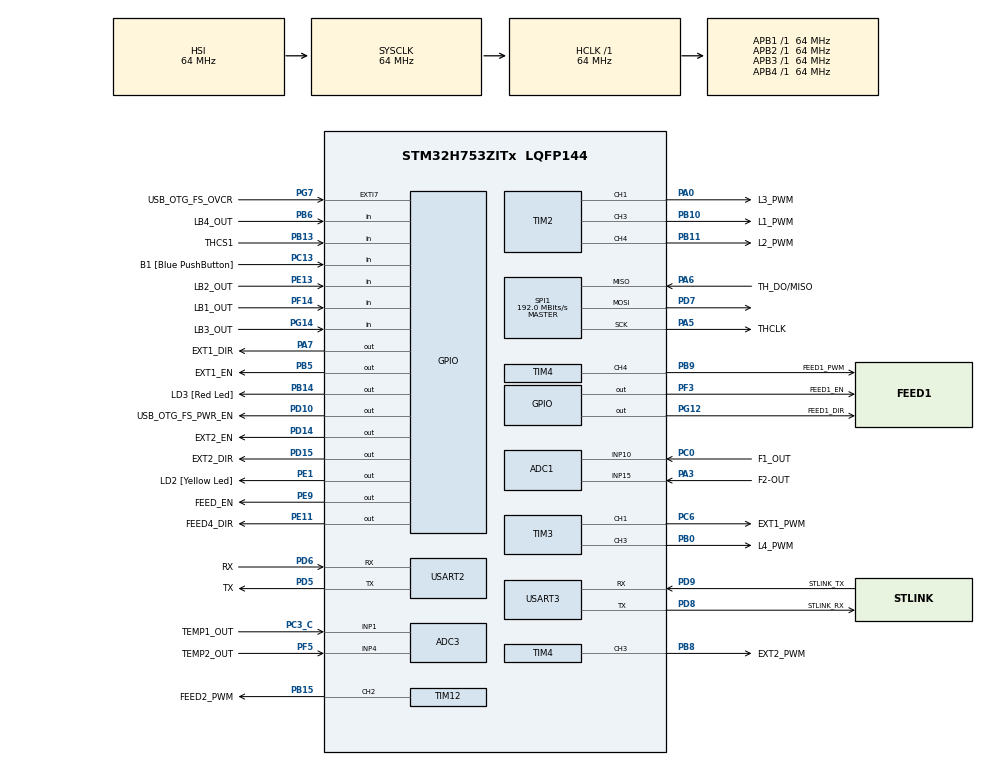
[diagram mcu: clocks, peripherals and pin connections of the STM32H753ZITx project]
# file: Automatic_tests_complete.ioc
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ADC1.Channel-0\#ChannelRegularConversion=ADC_CHANNEL_15
ADC1.NbrOfConversionFlag=1
ADC1.OffsetNumber-0\#ChannelRegularConversion=ADC_OFFSET_NONE
ADC1.OffsetSignedSaturation-0\#ChannelRegularConversion=DISABLE
ADC1.Rank-0\#ChannelRegularConversion=1
ADC1.SamplingTime-0\#ChannelRegularConversion=ADC_SAMPLETIME_1CYCLE_5
ADC1.master=1
ADC3.Channel-0\#ChannelRegularConversion=ADC_CHANNEL_1
ADC3.NbrOfConversionFlag=1
ADC3.OffsetNumber-0\#ChannelRegularConversion=ADC_OFFSET_NONE
ADC3.OffsetSignedSaturation-0\#ChannelRegularConversion=DISABLE
ADC3.Rank-0\#ChannelRegularConversion=1
ADC3.SamplingTime-0\#ChannelRegularConversion=ADC_SAMPLETIME_1CYCLE_5
CORTEX_M7.CPU_DCache=Disabled
CORTEX_M7.CPU_ICache=Disabled
CORTEX_M7.MPU_Control=__NULL
Mcu.Family=STM32H7
Mcu.Name=STM32H753ZITx
Mcu.Package=LQFP144
NVIC.PriorityGroup=NVIC_PRIORITYGROUP_4
NVIC.TIM3_IRQn=true\:0\:0\:false\:false\:true\:true\:true\:true
NVIC.TIM4_IRQn=true\:0\:0\:false\:false\:true\:true\:true\:true
PA0.GPIO_Label=L3_PWM
PA0.Signal=S_TIM2_CH1_ETR
PA1.Signal=ETH_REF_CLK
PA11.Signal=USB_OTG_FS_DM
PA12.Signal=USB_OTG_FS_DP
PA2.Signal=ETH_MDIO
PA3.GPIO_Label=F2-OUT
PA3.Signal=ADCx_INP15
PA5.GPIO_Label=THCLK
PA5.Mode=Full_Duplex_Master
PA5.Signal=SPI1_SCK
PA6.GPIO_Label=TH_DO/MISO
PA6.Mode=Full_Duplex_Master
PA6.Signal=SPI1_MISO
PA7.GPIO_Label=EXT1_DIR
PA7.Signal=GPIO_Output
PA8.Signal=USB_OTG_FS_SOF
PA9.Signal=USB_OTG_FS_VBUS
PB0.GPIO_Label=L4_PWM
PB0.Signal=S_TIM3_CH3
PB10.GPIO_Label=L1_PWM
PB10.Signal=S_TIM2_CH3
PB11.GPIO_Label=L2_PWM
PB11.Signal=S_TIM2_CH4
PB13.GPIO_Label=THCS1
PB13.Signal=GPIO_Input
PB14.GPIO_Label=LD3 [Red Led]
PB14.Signal=GPIO_Output
PB15.GPIO_Label=FEED2_PWM
PB15.Signal=S_TIM12_CH2
PB5.GPIO_Label=EXT1_EN
PB5.GPIO_PuPd=GPIO_PULLDOWN
PB5.Signal=GPIO_Output
PB6.GPIO_Label=LB4_OUT
PB6.Signal=GPIO_Input
PB8.GPIO_Label=EXT2_PWM
PB8.Signal=S_TIM4_CH3
PB9.GPIO_Label=FEED1_PWM
PB9.Signal=S_TIM4_CH4
PC0.GPIO_Label=F1_OUT
PC0.Signal=ADCx_INP10
PC1.Signal=ETH_MDC
PC13.GPIO_Label=B1 [Blue PushButton]
PC13.Signal=GPIO_Input
PC14-OSC32_IN\ (OSC32_IN).Signal=RCC_OSC32_IN
PC15-OSC32_OUT\ (OSC32_OUT).Signal=RCC_OSC32_OUT
PC3_C.GPIO_Label=TEMP1_OUT
PC3_C.Mode=IN1-Single-Ended
PC3_C.Signal=ADC3_INP1
PC4.Signal=ETH_RXD0
PC5.Signal=ETH_RXD1
PC6.GPIO_Label=EXT1_PWM
PC6.Signal=S_TIM3_CH1
PD10.GPIO_Label=USB_OTG_FS_PWR_EN
PD10.Signal=GPIO_Output
PD14.GPIO_Label=EXT2_EN
PD14.GPIO_PuPd=GPIO_PULLDOWN
PD14.Signal=GPIO_Output
PD15.GPIO_Label=EXT2_DIR
PD15.Signal=GPIO_Output
PD5.GPIO_Label=TX
PD5.Mode=Asynchronous
PD5.Signal=USART2_TX
PD6.GPIO_Label=RX
PD6.Mode=Asynchronous
PD6.Signal=USART2_RX
PD7.Mode=Full_Duplex_Master
PD7.Signal=SPI1_MOSI
PD8.GPIO_Label=STLINK_RX
PD8.Mode=Asynchronous
PD8.Signal=USART3_TX
PD9.GPIO_Label=STLINK_TX
PD9.Mode=Asynchronous
PD9.Signal=USART3_RX
PE1.GPIO_Label=LD2 [Yellow Led]
PE1.Signal=GPIO_Output
PE11.GPIO_Label=FEED4_DIR
PE11.Signal=GPIO_Output
PE13.GPIO_Label=LB2_OUT
PE13.Signal=GPIO_Input
PE9.GPIO_Label=FEED_EN
PE9.GPIO_PuPd=GPIO_PULLDOWN
PE9.Signal=GPIO_Output
PF14.GPIO_Label=LB1_OUT
PF14.Signal=GPIO_Input
PF3.GPIO_Label=FEED1_EN
PF3.GPIO_PuPd=GPIO_PULLDOWN
PF3.Signal=GPIO_Output
PF5.GPIO_Label=TEMP2_OUT
PF5.Mode=IN4-Single-Ended
PF5.Signal=ADC3_INP4
PG11.Signal=ETH_TX_EN
PG12.GPIO_Label=FEED1_DIR
PG12.Signal=GPIO_Output
PG13.Signal=ETH_TXD0
PG14.GPIO_Label=LB3_OUT
PG14.Signal=GPIO_Input
PG7.GPIO_Label=USB_OTG_FS_OVCR
PG7.Signal=GPXTI7
PH0-OSC_IN\ (PH0).Signal=RCC_OSC_IN
PH1-OSC_OUT\ (PH1).Signal=RCC_OSC_OUT
ProjectManager.HeapSize=0x200
ProjectManager.StackSize=0x400
ProjectManager.TargetToolchain=STM32CubeIDE
RCC.ADCFreq_Value=129000000
RCC.APB1Freq_Value=64000000
RCC.APB2Freq_Value=64000000
RCC.APB3Freq_Value=64000000
RCC.APB4Freq_Value=64000000
RCC.CortexFreq_Value=64000000
RCC.DIVM1=1
RCC.DIVN1=24
RCC.DIVQ1=4
RCC.HCLKFreq_Value=64000000
RCC.HSE_VALUE=8000000
RCC.PLLFRACN=0
RCC.PWR_Regulator_Voltage_Scale=PWR_REGULATOR_VOLTAGE_SCALE2
RCC.SYSCLKFreq_VALUE=64000000
RCC.USBFreq_Value=384000000
SH.ADCx_INP10.0=ADC1_INP10,IN10-Single-Ended
SH.ADCx_INP15.0=ADC1_INP15,IN15-Single-Ended
SH.S_TIM12_CH2.0=TIM12_CH2,PWM Generation2 CH2
SH.S_TIM2_CH1_ETR.0=TIM2_CH1,PWM Generation1 CH1
SH.S_TIM2_CH3.0=TIM2_CH3,PWM Generation3 CH3
SH.S_TIM2_CH4.0=TIM2_CH4,Output Compare4 CH4
SH.S_TIM3_CH1.0=TIM3_CH1,PWM Generation1 CH1
SH.S_TIM3_CH3.0=TIM3_CH3,PWM Generation3 CH3
SH.S_TIM4_CH3.0=TIM4_CH3,PWM Generation3 CH3
SH.S_TIM4_CH4.0=TIM4_CH4,PWM Generation4 CH4
SPI1.BaudRatePrescaler=SPI_BAUDRATEPRESCALER_2
SPI1.CalculateBaudRate=192.0 MBits/s
SPI1.Direction=SPI_DIRECTION_2LINES
SPI1.Mode=SPI_MODE_MASTER
SPI1.VirtualType=VM_MASTER
TIM12.AutoReloadPreload=TIM_AUTORELOAD_PRELOAD_ENABLE
TIM12.Channel-PWM\ Generation2\ CH2=TIM_CHANNEL_2
TIM2.AutoReloadPreload=TIM_AUTORELOAD_PRELOAD_ENABLE
TIM2.Channel-Output\ Compare4\ CH4=TIM_CHANNEL_4
TIM2.Channel-PWM\ Generation1\ CH1=TIM_CHANNEL_1
TIM2.Channel-PWM\ Generation3\ CH3=TIM_CHANNEL_3
TIM3.AutoReloadPreload=TIM_AUTORELOAD_PRELOAD_ENABLE
TIM3.Channel-PWM\ Generation1\ CH1=TIM_CHANNEL_1
TIM3.Channel-PWM\ Generation3\ CH3=TIM_CHANNEL_3
TIM4.AutoReloadPreload=TIM_AUTORELOAD_PRELOAD_ENABLE
TIM4.Channel-PWM\ Generation3\ CH3=TIM_CHANNEL_3
TIM4.Channel-PWM\ Generation4\ CH4=TIM_CHANNEL_4
USART2.VirtualMode-Asynchronous=VM_ASYNC
USART3.VirtualMode-Asynchronous=VM_ASYNC
VP_MEMORYMAP_VS_MEMORYMAP.Mode=CurAppReg
board=NUCLEO-H753ZI

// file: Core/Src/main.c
/* USER CODE BEGIN Header */
/**
  ******************************************************************************
  * @file           : main.c
  * @brief          : Main program body
  ******************************************************************************
  * @attention
  *
  * Copyright (c) 2024 STMicroelectronics.
  * All rights reserved.
  *
  * This software is licensed under terms that can be found in the LICENSE file
  * in the root directory of this software component.
  * If no LICENSE file comes with this software, it is provided AS-IS.
  *
  ******************************************************************************
  */
/* USER CODE END Header */
#include "main.h"

/* USER CODE BEGIN Includes */
#include <string.h>
#include <stdio.h>
#include <stdlib.h>
#include <stdbool.h>
/* USER CODE END Includes */

/* USER CODE BEGIN PD */
#define RX_BUFFER_SIZE 128
#define PWM_DUTY_CYCLE 128 // 50% duty cycle
/* USER CODE END PD */

ADC_HandleTypeDef hadc1;
ADC_HandleTypeDef hadc3;

SPI_HandleTypeDef hspi1;

TIM_HandleTypeDef htim2;
TIM_HandleTypeDef htim3;
TIM_HandleTypeDef htim4;
TIM_HandleTypeDef htim12;

UART_HandleTypeDef huart2;
UART_HandleTypeDef huart3;

/* USER CODE BEGIN PV */
volatile uint8_t dataReceived = 0;
uint8_t rxBuffer[RX_BUFFER_SIZE];
volatile bool lightBarrierTriggered = false;
/* USER CODE END PV */

void SystemClock_Config(void);
void PeriphCommonClock_Config(void);
static void MX_GPIO_Init(void);
static void MX_ADC1_Init(void);
static void MX_ADC3_Init(void);
static void MX_SPI1_Init(void);
static void MX_TIM2_Init(void);
static void MX_TIM3_Init(void);
static void MX_TIM4_Init(void);
static void MX_TIM12_Init(void);
static void MX_USART2_UART_Init(void);
static void MX_USART3_UART_Init(void);
/* USER CODE BEGIN PFP */
void processCommand(char *command);
void startExtruderMotors(void);
void startFeederAndLEDs(void);
void stopAllOperations(void);
/* USER CODE END PFP */

int main(void)
{

  /* MCU Configuration--------------------------------------------------------*/

  /* Reset of all peripherals, Initializes the Flash interface and the Systick. */
  HAL_Init();

  /* Configure the system clock */
  SystemClock_Config();

  /* Configure the peripherals common clocks */
  PeriphCommonClock_Config();

  /* Initialize all configured peripherals */
  MX_GPIO_Init();
  MX_ADC1_Init();
  MX_ADC3_Init();
  MX_SPI1_Init();
  MX_TIM2_Init();
  MX_TIM3_Init();
  MX_TIM4_Init();
  MX_TIM12_Init();
  MX_USART2_UART_Init();
  MX_USART3_UART_Init();
  /* USER CODE BEGIN 2 */

  // Start UART reception in interrupt mode
  HAL_UART_Receive_IT(&huart3, (uint8_t *)rxBuffer, RX_BUFFER_SIZE);

  /* USER CODE END 2 */

  /* Infinite loop */
  /* USER CODE BEGIN WHILE */
  while (1)
  {
    if (dataReceived) {
      processCommand((char *)rxBuffer);
      dataReceived = 0;
    }

    if (lightBarrierTriggered) {
      startFeederAndLEDs();
      lightBarrierTriggered = false; // Reset trigger
    }
    /* USER CODE END WHILE */

  }
}

void SystemClock_Config(void)
{
  RCC_OscInitTypeDef RCC_OscInitStruct = {0};
  RCC_ClkInitTypeDef RCC_ClkInitStruct = {0};

  /** Supply configuration update enable
  */
  HAL_PWREx_ConfigSupply(PWR_LDO_SUPPLY);

  /** Configure the main internal regulator output voltage
  */
  __HAL_PWR_VOLTAGESCALING_CONFIG(PWR_REGULATOR_VOLTAGE_SCALE2);

  while(!__HAL_PWR_GET_FLAG(PWR_FLAG_VOSRDY)) {}

  /** Macro to configure the PLL clock source
  */
  __HAL_RCC_PLL_PLLSOURCE_CONFIG(RCC_PLLSOURCE_HSI);

  /** Initializes the RCC Oscillators according to the specified parameters
  * in the RCC_OscInitTypeDef structure.
  */
  RCC_OscInitStruct.OscillatorType = RCC_OSCILLATORTYPE_HSI;
  RCC_OscInitStruct.HSIState = RCC_HSI_DIV1;
  RCC_OscInitStruct.HSICalibrationValue = RCC_HSICALIBRATION_DEFAULT;
  RCC_OscInitStruct.PLL.PLLState = RCC_PLL_NONE;
  if (HAL_RCC_OscConfig(&RCC_OscInitStruct) != HAL_OK)
  {
    Error_Handler();
  }

  /** Initializes the CPU, AHB and APB buses clocks
  */
  RCC_ClkInitStruct.ClockType = RCC_CLOCKTYPE_HCLK|RCC_CLOCKTYPE_SYSCLK
                              |RCC_CLOCKTYPE_PCLK1|RCC_CLOCKTYPE_PCLK2
                              |RCC_CLOCKTYPE_D3PCLK1|RCC_CLOCKTYPE_D1PCLK1;
  RCC_ClkInitStruct.SYSCLKSource = RCC_SYSCLKSOURCE_HSI;
  RCC_ClkInitStruct.SYSCLKDivider = RCC_SYSCLK_DIV1;
  RCC_ClkInitStruct.AHBCLKDivider = RCC_HCLK_DIV1;
  RCC_ClkInitStruct.APB3CLKDivider = RCC_APB3_DIV1;
  RCC_ClkInitStruct.APB1CLKDivider = RCC_APB1_DIV1;
  RCC_ClkInitStruct.APB2CLKDivider = RCC_APB2_DIV1;
  RCC_ClkInitStruct.APB4CLKDivider = RCC_APB4_DIV1;

  if (HAL_RCC_ClockConfig(&RCC_ClkInitStruct, FLASH_LATENCY_1) != HAL_OK)
  {
    Error_Handler();
  }
}

void PeriphCommonClock_Config(void)
{
  RCC_PeriphCLKInitTypeDef PeriphClkInitStruct = {0};

  /** Initializes the peripherals clock
  */
  PeriphClkInitStruct.PeriphClockSelection = RCC_PERIPHCLK_ADC|RCC_PERIPHCLK_SPI1;
  PeriphClkInitStruct.PLL2.PLL2M = 4;
  PeriphClkInitStruct.PLL2.PLL2N = 10;
  PeriphClkInitStruct.PLL2.PLL2P = 2;
  PeriphClkInitStruct.PLL2.PLL2Q = 2;
  PeriphClkInitStruct.PLL2.PLL2R = 2;
  PeriphClkInitStruct.PLL2.PLL2RGE = RCC_PLL2VCIRANGE_3;
  PeriphClkInitStruct.PLL2.PLL2VCOSEL = RCC_PLL2VCOMEDIUM;
  PeriphClkInitStruct.PLL2.PLL2FRACN = 0;
  PeriphClkInitStruct.Spi123ClockSelection = RCC_SPI123CLKSOURCE_PLL2;
  PeriphClkInitStruct.AdcClockSelection = RCC_ADCCLKSOURCE_PLL2;
  if (HAL_RCCEx_PeriphCLKConfig(&PeriphClkInitStruct) != HAL_OK)
  {
    Error_Handler();
  }
}

static void MX_ADC1_Init(void)
{

  ADC_MultiModeTypeDef multimode = {0};
  ADC_ChannelConfTypeDef sConfig = {0};

  /** Common config
  */
  hadc1.Instance = ADC1;
  hadc1.Init.ScanConvMode = ADC_SCAN_DISABLE;
  hadc1.Init.EOCSelection = ADC_EOC_SINGLE_CONV;
  hadc1.Init.LowPowerAutoWait = DISABLE;
  hadc1.Init.ContinuousConvMode = DISABLE;
  hadc1.Init.NbrOfConversion = 1;
  hadc1.Init.DiscontinuousConvMode = DISABLE;
  hadc1.Init.ExternalTrigConv = ADC_SOFTWARE_START;
  hadc1.Init.ExternalTrigConvEdge = ADC_EXTERNALTRIGCONVEDGE_NONE;
  hadc1.Init.ConversionDataManagement = ADC_CONVERSIONDATA_DR;
  hadc1.Init.Overrun = ADC_OVR_DATA_PRESERVED;
  hadc1.Init.LeftBitShift = ADC_LEFTBITSHIFT_NONE;
  hadc1.Init.OversamplingMode = DISABLE;
  hadc1.Init.Oversampling.Ratio = 1;
  if (HAL_ADC_Init(&hadc1) != HAL_OK)
  {
    Error_Handler();
  }
  hadc1.Init.ClockPrescaler = ADC_CLOCK_ASYNC_DIV2;
  hadc1.Init.Resolution = ADC_RESOLUTION_16B;
  if (HAL_ADC_Init(&hadc1) != HAL_OK)
  {
    Error_Handler();
  }

  /** Configure the ADC multi-mode
  */
  multimode.Mode = ADC_MODE_INDEPENDENT;
  if (HAL_ADCEx_MultiModeConfigChannel(&hadc1, &multimode) != HAL_OK)
  {
    Error_Handler();
  }

  /** Configure Regular Channel
  */
  sConfig.Channel = ADC_CHANNEL_15;
  sConfig.Rank = ADC_REGULAR_RANK_1;
  sConfig.SamplingTime = ADC_SAMPLETIME_1CYCLE_5;
  sConfig.SingleDiff = ADC_SINGLE_ENDED;
  sConfig.OffsetNumber = ADC_OFFSET_NONE;
  sConfig.Offset = 0;
  sConfig.OffsetSignedSaturation = DISABLE;
  if (HAL_ADC_ConfigChannel(&hadc1, &sConfig) != HAL_OK)
  {
    Error_Handler();
  }

}

static void MX_ADC3_Init(void)
{

  ADC_ChannelConfTypeDef sConfig = {0};

  /** Common config
  */
  hadc3.Instance = ADC3;
  hadc3.Init.ClockPrescaler = ADC_CLOCK_ASYNC_DIV1;
  hadc3.Init.ScanConvMode = ADC_SCAN_DISABLE;
  hadc3.Init.EOCSelection = ADC_EOC_SINGLE_CONV;
  hadc3.Init.LowPowerAutoWait = DISABLE;
  hadc3.Init.ContinuousConvMode = DISABLE;
  hadc3.Init.NbrOfConversion = 1;
  hadc3.Init.DiscontinuousConvMode = DISABLE;
  hadc3.Init.ExternalTrigConv = ADC_SOFTWARE_START;
  hadc3.Init.ExternalTrigConvEdge = ADC_EXTERNALTRIGCONVEDGE_NONE;
  hadc3.Init.ConversionDataManagement = ADC_CONVERSIONDATA_DR;
  hadc3.Init.Overrun = ADC_OVR_DATA_PRESERVED;
  hadc3.Init.LeftBitShift = ADC_LEFTBITSHIFT_NONE;
  hadc3.Init.OversamplingMode = DISABLE;
  hadc3.Init.Oversampling.Ratio = 1;
  if (HAL_ADC_Init(&hadc3) != HAL_OK)
  {
    Error_Handler();
  }
  hadc3.Init.Resolution = ADC_RESOLUTION_16B;
  if (HAL_ADC_Init(&hadc3) != HAL_OK)
  {
    Error_Handler();
  }

  /** Configure Regular Channel
  */
  sConfig.Channel = ADC_CHANNEL_1;
  sConfig.Rank = ADC_REGULAR_RANK_1;
  sConfig.SamplingTime = ADC_SAMPLETIME_1CYCLE_5;
  sConfig.SingleDiff = ADC_SINGLE_ENDED;
  sConfig.OffsetNumber = ADC_OFFSET_NONE;
  sConfig.Offset = 0;
  sConfig.OffsetSignedSaturation = DISABLE;
  if (HAL_ADC_ConfigChannel(&hadc3, &sConfig) != HAL_OK)
  {
    Error_Handler();
  }

}

static void MX_SPI1_Init(void)
{

  /* SPI1 parameter configuration*/
  hspi1.Instance = SPI1;
  hspi1.Init.Mode = SPI_MODE_MASTER;
  hspi1.Init.Direction = SPI_DIRECTION_2LINES;
  hspi1.Init.DataSize = SPI_DATASIZE_4BIT;
  hspi1.Init.CLKPolarity = SPI_POLARITY_LOW;
  hspi1.Init.CLKPhase = SPI_PHASE_1EDGE;
  hspi1.Init.NSS = SPI_NSS_SOFT;
  hspi1.Init.BaudRatePrescaler = SPI_BAUDRATEPRESCALER_8;
  hspi1.Init.FirstBit = SPI_FIRSTBIT_MSB;
  hspi1.Init.TIMode = SPI_TIMODE_DISABLE;
  hspi1.Init.CRCCalculation = SPI_CRCCALCULATION_DISABLE;
  hspi1.Init.CRCPolynomial = 0x0;
  hspi1.Init.NSSPMode = SPI_NSS_PULSE_ENABLE;
  hspi1.Init.NSSPolarity = SPI_NSS_POLARITY_LOW;
  hspi1.Init.FifoThreshold = SPI_FIFO_THRESHOLD_01DATA;
  hspi1.Init.TxCRCInitializationPattern = SPI_CRC_INITIALIZATION_ALL_ZERO_PATTERN;
  hspi1.Init.RxCRCInitializationPattern = SPI_CRC_INITIALIZATION_ALL_ZERO_PATTERN;
  hspi1.Init.MasterSSIdleness = SPI_MASTER_SS_IDLENESS_00CYCLE;
  hspi1.Init.MasterInterDataIdleness = SPI_MASTER_INTERDATA_IDLENESS_00CYCLE;
  hspi1.Init.MasterReceiverAutoSusp = SPI_MASTER_RX_AUTOSUSP_DISABLE;
  hspi1.Init.MasterKeepIOState = SPI_MASTER_KEEP_IO_STATE_DISABLE;
  hspi1.Init.IOSwap = SPI_IO_SWAP_DISABLE;
  if (HAL_SPI_Init(&hspi1) != HAL_OK)
  {
    Error_Handler();
  }

}

static void MX_TIM2_Init(void)
{

  TIM_MasterConfigTypeDef sMasterConfig = {0};
  TIM_OC_InitTypeDef sConfigOC = {0};

  htim2.Instance = TIM2;
  htim2.Init.Prescaler = 2172;
  htim2.Init.CounterMode = TIM_COUNTERMODE_UP;
  htim2.Init.Period = 255;
  htim2.Init.ClockDivision = TIM_CLOCKDIVISION_DIV1;
  htim2.Init.AutoReloadPreload = TIM_AUTORELOAD_PRELOAD_ENABLE;
  if (HAL_TIM_PWM_Init(&htim2) != HAL_OK)
  {
    Error_Handler();
  }
  if (HAL_TIM_OC_Init(&htim2) != HAL_OK)
  {
    Error_Handler();
  }
  sMasterConfig.MasterOutputTrigger = TIM_TRGO_RESET;
  sMasterConfig.MasterSlaveMode = TIM_MASTERSLAVEMODE_DISABLE;
  if (HAL_TIMEx_MasterConfigSynchronization(&htim2, &sMasterConfig) != HAL_OK)
  {
    Error_Handler();
  }
  sConfigOC.OCMode = TIM_OCMODE_PWM1;
  sConfigOC.Pulse = 0;
  sConfigOC.OCPolarity = TIM_OCPOLARITY_HIGH;
  sConfigOC.OCFastMode = TIM_OCFAST_DISABLE;
  if (HAL_TIM_PWM_ConfigChannel(&htim2, &sConfigOC, TIM_CHANNEL_1) != HAL_OK)
  {
    Error_Handler();
  }
  if (HAL_TIM_PWM_ConfigChannel(&htim2, &sConfigOC, TIM_CHANNEL_3) != HAL_OK)
  {
    Error_Handler();
  }
  sConfigOC.OCMode = TIM_OCMODE_TIMING;
  if (HAL_TIM_OC_ConfigChannel(&htim2, &sConfigOC, TIM_CHANNEL_4) != HAL_OK)
  {
    Error_Handler();
  }
  HAL_TIM_MspPostInit(&htim2);

}

static void MX_TIM3_Init(void)
{

  TIM_MasterConfigTypeDef sMasterConfig = {0};
  TIM_OC_InitTypeDef sConfigOC = {0};

  htim3.Instance = TIM3;
  htim3.Init.Prescaler = 2172;
  htim3.Init.CounterMode = TIM_COUNTERMODE_UP;
  htim3.Init.Period = 255;
  htim3.Init.ClockDivision = TIM_CLOCKDIVISION_DIV1;
  htim3.Init.AutoReloadPreload = TIM_AUTORELOAD_PRELOAD_ENABLE;
  if (HAL_TIM_PWM_Init(&htim3) != HAL_OK)
  {
    Error_Handler();
  }
  sMasterConfig.MasterOutputTrigger = TIM_TRGO_RESET;
  sMasterConfig.MasterSlaveMode = TIM_MASTERSLAVEMODE_DISABLE;
  if (HAL_TIMEx_MasterConfigSynchronization(&htim3, &sMasterConfig) != HAL_OK)
  {
    Error_Handler();
  }
  sConfigOC.OCMode = TIM_OCMODE_PWM1;
  sConfigOC.Pulse = 0;
  sConfigOC.OCPolarity = TIM_OCPOLARITY_HIGH;
  sConfigOC.OCFastMode = TIM_OCFAST_DISABLE;
  if (HAL_TIM_PWM_ConfigChannel(&htim3, &sConfigOC, TIM_CHANNEL_1) != HAL_OK)
  {
    Error_Handler();
  }
  if (HAL_TIM_PWM_ConfigChannel(&htim3, &sConfigOC, TIM_CHANNEL_3) != HAL_OK)
  {
    Error_Handler();
  }
  HAL_TIM_MspPostInit(&htim3);

}

static void MX_TIM4_Init(void)
{

  TIM_MasterConfigTypeDef sMasterConfig = {0};
  TIM_OC_InitTypeDef sConfigOC = {0};

  htim4.Instance = TIM4;
  htim4.Init.Prescaler = 2172;
  htim4.Init.CounterMode = TIM_COUNTERMODE_UP;
  htim4.Init.Period = 255;
  htim4.Init.ClockDivision = TIM_CLOCKDIVISION_DIV1;
  htim4.Init.AutoReloadPreload = TIM_AUTORELOAD_PRELOAD_ENABLE;
  if (HAL_TIM_PWM_Init(&htim4) != HAL_OK)
  {
    Error_Handler();
  }
  sMasterConfig.MasterOutputTrigger = TIM_TRGO_RESET;
  sMasterConfig.MasterSlaveMode = TIM_MASTERSLAVEMODE_DISABLE;
  if (HAL_TIMEx_MasterConfigSynchronization(&htim4, &sMasterConfig) != HAL_OK)
  {
    Error_Handler();
  }
  sConfigOC.OCMode = TIM_OCMODE_PWM1;
  sConfigOC.Pulse = 0;
  sConfigOC.OCPolarity = TIM_OCPOLARITY_HIGH;
  sConfigOC.OCFastMode = TIM_OCFAST_DISABLE;
  if (HAL_TIM_PWM_ConfigChannel(&htim4, &sConfigOC, TIM_CHANNEL_3) != HAL_OK)
  {
    Error_Handler();
  }
  if (HAL_TIM_PWM_ConfigChannel(&htim4, &sConfigOC, TIM_CHANNEL_4) != HAL_OK)
  {
    Error_Handler();
  }
  HAL_TIM_MspPostInit(&htim4);

}

static void MX_TIM12_Init(void)
{

  TIM_MasterConfigTypeDef sMasterConfig = {0};
  TIM_OC_InitTypeDef sConfigOC = {0};

  htim12.Instance = TIM12;
  htim12.Init.Prescaler = 2172;
  htim12.Init.CounterMode = TIM_COUNTERMODE_UP;
  htim12.Init.Period = 255;
  htim12.Init.ClockDivision = TIM_CLOCKDIVISION_DIV1;
  htim12.Init.AutoReloadPreload = TIM_AUTORELOAD_PRELOAD_ENABLE;
  if (HAL_TIM_PWM_Init(&htim12) != HAL_OK)
  {
    Error_Handler();
  }
  sMasterConfig.MasterOutputTrigger = TIM_TRGO_RESET;
  sMasterConfig.MasterSlaveMode = TIM_MASTERSLAVEMODE_DISABLE;
  if (HAL_TIMEx_MasterConfigSynchronization(&htim12, &sMasterConfig) != HAL_OK)
  {
    Error_Handler();
  }
  sConfigOC.OCMode = TIM_OCMODE_PWM1;
  sConfigOC.Pulse = 0;
  sConfigOC.OCPolarity = TIM_OCPOLARITY_HIGH;
  sConfigOC.OCFastMode = TIM_OCFAST_DISABLE;
  if (HAL_TIM_PWM_ConfigChannel(&htim12, &sConfigOC, TIM_CHANNEL_2) != HAL_OK)
  {
    Error_Handler();
  }
  HAL_TIM_MspPostInit(&htim12);

}

static void MX_USART2_UART_Init(void)
{

  huart2.Instance = USART2;
  huart2.Init.BaudRate = 9600;
  huart2.Init.WordLength = UART_WORDLENGTH_8B;
  huart2.Init.StopBits = UART_STOPBITS_1;
  huart2.Init.Parity = UART_PARITY_NONE;
  huart2.Init.Mode = UART_MODE_TX_RX;
  huart2.Init.HwFlowCtl = UART_HWCONTROL_NONE;
  huart2.Init.OverSampling = UART_OVERSAMPLING_16;
  huart2.Init.OneBitSampling = UART_ONE_BIT_SAMPLE_DISABLE;
  huart2.Init.ClockPrescaler = UART_PRESCALER_DIV1;
  huart2.AdvancedInit.AdvFeatureInit = UART_ADVFEATURE_NO_INIT;
  if (HAL_UART_Init(&huart2) != HAL_OK)
  {
    Error_Handler();
  }
  if (HAL_UARTEx_SetTxFifoThreshold(&huart2, UART_TXFIFO_THRESHOLD_1_8) != HAL_OK)
  {
    Error_Handler();
  }
  if (HAL_UARTEx_SetRxFifoThreshold(&huart2, UART_RXFIFO_THRESHOLD_1_8) != HAL_OK)
  {
    Error_Handler();
  }
  if (HAL_UARTEx_DisableFifoMode(&huart2) != HAL_OK)
  {
    Error_Handler();
  }

}

static void MX_USART3_UART_Init(void)
{

  huart3.Instance = USART3;
  huart3.Init.BaudRate = 9600;
  huart3.Init.WordLength = UART_WORDLENGTH_8B;
  huart3.Init.StopBits = UART_STOPBITS_1;
  huart3.Init.Parity = UART_PARITY_NONE;
  huart3.Init.Mode = UART_MODE_TX_RX;
  huart3.Init.HwFlowCtl = UART_HWCONTROL_NONE;
  huart3.Init.OverSampling = UART_OVERSAMPLING_16;
  huart3.Init.OneBitSampling = UART_ONE_BIT_SAMPLE_DISABLE;
  huart3.Init.ClockPrescaler = UART_PRESCALER_DIV1;
  huart3.AdvancedInit.AdvFeatureInit = UART_ADVFEATURE_NO_INIT;
  if (HAL_UART_Init(&huart3) != HAL_OK)
  {
    Error_Handler();
  }
  if (HAL_UARTEx_SetTxFifoThreshold(&huart3, UART_TXFIFO_THRESHOLD_1_8) != HAL_OK)
  {
    Error_Handler();
  }
  if (HAL_UARTEx_SetRxFifoThreshold(&huart3, UART_RXFIFO_THRESHOLD_1_8) != HAL_OK)
  {
    Error_Handler();
  }
  if (HAL_UARTEx_DisableFifoMode(&huart3) != HAL_OK)
  {
    Error_Handler();
  }

}

static void MX_GPIO_Init(void)
{
  GPIO_InitTypeDef GPIO_InitStruct = {0};

  /* GPIO Ports Clock Enable */
  __HAL_RCC_GPIOC_CLK_ENABLE();
  __HAL_RCC_GPIOF_CLK_ENABLE();
  __HAL_RCC_GPIOH_CLK_ENABLE();
  __HAL_RCC_GPIOA_CLK_ENABLE();
  __HAL_RCC_GPIOB_CLK_ENABLE();
  __HAL_RCC_GPIOE_CLK_ENABLE();
  __HAL_RCC_GPIOD_CLK_ENABLE();
  __HAL_RCC_GPIOG_CLK_ENABLE();

  /*Configure GPIO pin Output Level */
  HAL_GPIO_WritePin(FEED1_EN_GPIO_Port, FEED1_EN_Pin, GPIO_PIN_RESET);

  /*Configure GPIO pin Output Level */
  HAL_GPIO_WritePin(EXT1_DIR_GPIO_Port, EXT1_DIR_Pin, GPIO_PIN_RESET);

  /*Configure GPIO pin Output Level */
  HAL_GPIO_WritePin(GPIOE, FEED_EN_Pin|FEED4_DIR_Pin|LD2_Pin, GPIO_PIN_RESET);

  /*Configure GPIO pin Output Level */
  HAL_GPIO_WritePin(GPIOB, LD3_Pin|EXT1_EN_Pin, GPIO_PIN_RESET);

  /*Configure GPIO pin Output Level */
  HAL_GPIO_WritePin(GPIOD, USB_OTG_FS_PWR_EN_Pin|EXT2_EN_Pin|EXT2_DIR_Pin, GPIO_PIN_RESET);

  /*Configure GPIO pin Output Level */
  HAL_GPIO_WritePin(FEED1_DIR_GPIO_Port, FEED1_DIR_Pin, GPIO_PIN_RESET);

  /*Configure GPIO pin : B1_Pin */
  GPIO_InitStruct.Pin = B1_Pin;
  GPIO_InitStruct.Mode = GPIO_MODE_INPUT;
  GPIO_InitStruct.Pull = GPIO_NOPULL;
  HAL_GPIO_Init(B1_GPIO_Port, &GPIO_InitStruct);

  /*Configure GPIO pin : FEED1_EN_Pin */
  GPIO_InitStruct.Pin = FEED1_EN_Pin;
  GPIO_InitStruct.Mode = GPIO_MODE_OUTPUT_PP;
  GPIO_InitStruct.Pull = GPIO_PULLDOWN;
  GPIO_InitStruct.Speed = GPIO_SPEED_FREQ_LOW;
  HAL_GPIO_Init(FEED1_EN_GPIO_Port, &GPIO_InitStruct);

  /*Configure GPIO pins : PC1 PC4 PC5 */
  GPIO_InitStruct.Pin = GPIO_PIN_1|GPIO_PIN_4|GPIO_PIN_5;
  GPIO_InitStruct.Mode = GPIO_MODE_AF_PP;
  GPIO_InitStruct.Pull = GPIO_NOPULL;
  GPIO_InitStruct.Speed = GPIO_SPEED_FREQ_LOW;
  GPIO_InitStruct.Alternate = GPIO_AF11_ETH;
  HAL_GPIO_Init(GPIOC, &GPIO_InitStruct);

  /*Configure GPIO pins : PA1 PA2 */
  GPIO_InitStruct.Pin = GPIO_PIN_1|GPIO_PIN_2;
  GPIO_InitStruct.Mode = GPIO_MODE_AF_PP;
  GPIO_InitStruct.Pull = GPIO_NOPULL;
  GPIO_InitStruct.Speed = GPIO_SPEED_FREQ_LOW;
  GPIO_InitStruct.Alternate = GPIO_AF11_ETH;
  HAL_GPIO_Init(GPIOA, &GPIO_InitStruct);

  /*Configure GPIO pin : EXT1_DIR_Pin */
  GPIO_InitStruct.Pin = EXT1_DIR_Pin;
  GPIO_InitStruct.Mode = GPIO_MODE_OUTPUT_PP;
  GPIO_InitStruct.Pull = GPIO_NOPULL;
  GPIO_InitStruct.Speed = GPIO_SPEED_FREQ_LOW;
  HAL_GPIO_Init(EXT1_DIR_GPIO_Port, &GPIO_InitStruct);

  /*Configure GPIO pin : LB1_OUT_Pin */
  GPIO_InitStruct.Pin = LB1_OUT_Pin;
  GPIO_InitStruct.Mode = GPIO_MODE_IT_FALLING;
  GPIO_InitStruct.Pull = GPIO_NOPULL;
  HAL_GPIO_Init(LB1_OUT_GPIO_Port, &GPIO_InitStruct);

  /*Configure GPIO pin : FEED_EN_Pin */
  GPIO_InitStruct.Pin = FEED_EN_Pin;
  GPIO_InitStruct.Mode = GPIO_MODE_OUTPUT_PP;
  GPIO_InitStruct.Pull = GPIO_PULLDOWN;
  GPIO_InitStruct.Speed = GPIO_SPEED_FREQ_LOW;
  HAL_GPIO_Init(FEED_EN_GPIO_Port, &GPIO_InitStruct);

  /*Configure GPIO pins : FEED4_DIR_Pin LD2_Pin */
  GPIO_InitStruct.Pin = FEED4_DIR_Pin|LD2_Pin;
  GPIO_InitStruct.Mode = GPIO_MODE_OUTPUT_PP;
  GPIO_InitStruct.Pull = GPIO_NOPULL;
  GPIO_InitStruct.Speed = GPIO_SPEED_FREQ_LOW;
  HAL_GPIO_Init(GPIOE, &GPIO_InitStruct);

  /*Configure GPIO pin : LB2_OUT_Pin */
  GPIO_InitStruct.Pin = LB2_OUT_Pin;
  GPIO_InitStruct.Mode = GPIO_MODE_IT_FALLING;
  GPIO_InitStruct.Pull = GPIO_NOPULL;
  HAL_GPIO_Init(LB2_OUT_GPIO_Port, &GPIO_InitStruct);

  /*Configure GPIO pin : THCS1_Pin */
  GPIO_InitStruct.Pin = THCS1_Pin;
  GPIO_InitStruct.Mode = GPIO_MODE_INPUT;
  GPIO_InitStruct.Pull = GPIO_NOPULL;
  HAL_GPIO_Init(THCS1_GPIO_Port, &GPIO_InitStruct);

  /*Configure GPIO pin : LD3_Pin */
  GPIO_InitStruct.Pin = LD3_Pin;
  GPIO_InitStruct.Mode = GPIO_MODE_OUTPUT_PP;
  GPIO_InitStruct.Pull = GPIO_NOPULL;
  GPIO_InitStruct.Speed = GPIO_SPEED_FREQ_LOW;
  HAL_GPIO_Init(LD3_GPIO_Port, &GPIO_InitStruct);

  /*Configure GPIO pins : USB_OTG_FS_PWR_EN_Pin EXT2_DIR_Pin */
  GPIO_InitStruct.Pin = USB_OTG_FS_PWR_EN_Pin|EXT2_DIR_Pin;
  GPIO_InitStruct.Mode = GPIO_MODE_OUTPUT_PP;
  GPIO_InitStruct.Pull = GPIO_NOPULL;
  GPIO_InitStruct.Speed = GPIO_SPEED_FREQ_LOW;
  HAL_GPIO_Init(GPIOD, &GPIO_InitStruct);

  /*Configure GPIO pin : EXT2_EN_Pin */
  GPIO_InitStruct.Pin = EXT2_EN_Pin;
  GPIO_InitStruct.Mode = GPIO_MODE_OUTPUT_PP;
  GPIO_InitStruct.Pull = GPIO_PULLDOWN;
  GPIO_InitStruct.Speed = GPIO_SPEED_FREQ_LOW;
  HAL_GPIO_Init(EXT2_EN_GPIO_Port, &GPIO_InitStruct);

  /*Configure GPIO pin : USB_OTG_FS_OVCR_Pin */
  GPIO_InitStruct.Pin = USB_OTG_FS_OVCR_Pin;
  GPIO_InitStruct.Mode = GPIO_MODE_IT_RISING;
  GPIO_InitStruct.Pull = GPIO_NOPULL;
  HAL_GPIO_Init(USB_OTG_FS_OVCR_GPIO_Port, &GPIO_InitStruct);

  /*Configure GPIO pins : PA8 PA11 PA12 */
  GPIO_InitStruct.Pin = GPIO_PIN_8|GPIO_PIN_11|GPIO_PIN_12;
  GPIO_InitStruct.Mode = GPIO_MODE_AF_PP;
  GPIO_InitStruct.Pull = GPIO_NOPULL;
  GPIO_InitStruct.Speed = GPIO_SPEED_FREQ_LOW;
  GPIO_InitStruct.Alternate = GPIO_AF10_OTG1_FS;
  HAL_GPIO_Init(GPIOA, &GPIO_InitStruct);

  /*Configure GPIO pins : PG11 PG13 */
  GPIO_InitStruct.Pin = GPIO_PIN_11|GPIO_PIN_13;
  GPIO_InitStruct.Mode = GPIO_MODE_AF_PP;
  GPIO_InitStruct.Pull = GPIO_NOPULL;
  GPIO_InitStruct.Speed = GPIO_SPEED_FREQ_LOW;
  GPIO_InitStruct.Alternate = GPIO_AF11_ETH;
  HAL_GPIO_Init(GPIOG, &GPIO_InitStruct);

  /*Configure GPIO pin : FEED1_DIR_Pin */
  GPIO_InitStruct.Pin = FEED1_DIR_Pin;
  GPIO_InitStruct.Mode = GPIO_MODE_OUTPUT_PP;
  GPIO_InitStruct.Pull = GPIO_NOPULL;
  GPIO_InitStruct.Speed = GPIO_SPEED_FREQ_LOW;
  HAL_GPIO_Init(FEED1_DIR_GPIO_Port, &GPIO_InitStruct);

  /*Configure GPIO pin : LB3_OUT_Pin */
  GPIO_InitStruct.Pin = LB3_OUT_Pin;
  GPIO_InitStruct.Mode = GPIO_MODE_INPUT;
  GPIO_InitStruct.Pull = GPIO_NOPULL;
  HAL_GPIO_Init(LB3_OUT_GPIO_Port, &GPIO_InitStruct);

  /*Configure GPIO pin : EXT1_EN_Pin */
  GPIO_InitStruct.Pin = EXT1_EN_Pin;
  GPIO_InitStruct.Mode = GPIO_MODE_OUTPUT_PP;
  GPIO_InitStruct.Pull = GPIO_PULLDOWN;
  GPIO_InitStruct.Speed = GPIO_SPEED_FREQ_LOW;
  HAL_GPIO_Init(EXT1_EN_GPIO_Port, &GPIO_InitStruct);

  /*Configure GPIO pin : LB4_OUT_Pin */
  GPIO_InitStruct.Pin = LB4_OUT_Pin;
  GPIO_InitStruct.Mode = GPIO_MODE_IT_FALLING;
  GPIO_InitStruct.Pull = GPIO_NOPULL;
  HAL_GPIO_Init(LB4_OUT_GPIO_Port, &GPIO_InitStruct);

  /* EXTI interrupt init*/
  HAL_NVIC_SetPriority(EXTI9_5_IRQn, 0, 0);
  HAL_NVIC_EnableIRQ(EXTI9_5_IRQn);

}

/* USER CODE BEGIN 4 */
void processCommand(char *command)
{
  if (strcmp(command, "START") == 0)
  {
    startExtruderMotors();
  }
  else if (strcmp(command, "STOP") == 0)
  {
    stopAllOperations();
  }
}

void startExtruderMotors(void)
{
  // Enable motors by ensuring enable pins are low
  HAL_GPIO_WritePin(GPIOB, GPIO_PIN_5, GPIO_PIN_RESET); // EXTRUDER_1_EN_PIN
  HAL_GPIO_WritePin(GPIOD, GPIO_PIN_14, GPIO_PIN_RESET); // EXTRUDER_2_EN_PIN

  // Set PWM duty cycle
  __HAL_TIM_SET_COMPARE(&htim3, TIM_CHANNEL_1, PWM_DUTY_CYCLE); // PC6 Extruder 1 pwm
  __HAL_TIM_SET_COMPARE(&htim4, TIM_CHANNEL_3, PWM_DUTY_CYCLE); // PB8 Extruder 2 pwm
}

void startFeederAndLEDs(void)
{
  // Set PWM duty cycle for feeder and LEDs
  __HAL_TIM_SET_COMPARE(&htim12, TIM_CHANNEL_2, PWM_DUTY_CYCLE); // PB15 Feeder 2 pwm
  __HAL_TIM_SET_COMPARE(&htim4, TIM_CHANNEL_4, PWM_DUTY_CYCLE); // PB9 Feeder 1 pwm
  __HAL_TIM_SET_COMPARE(&htim2, TIM_CHANNEL_1, PWM_DUTY_CYCLE); // PA0 L3 pwm
  __HAL_TIM_SET_COMPARE(&htim3, TIM_CHANNEL_3, PWM_DUTY_CYCLE); // PB0 L4 pwm
  __HAL_TIM_SET_COMPARE(&htim2, TIM_CHANNEL_3, PWM_DUTY_CYCLE); // PB10 L1 pwm
  __HAL_TIM_SET_COMPARE(&htim2, TIM_CHANNEL_4, PWM_DUTY_CYCLE); // PB11 L2 pwm
}

void stopAllOperations(void)
{
  // Stop all PWM outputs
  __HAL_TIM_SET_COMPARE(&htim3, TIM_CHANNEL_1, 0); // PC6 Extruder 1 pwm
  __HAL_TIM_SET_COMPARE(&htim4, TIM_CHANNEL_3, 0); // PB8 Extruder 2 pwm
  __HAL_TIM_SET_COMPARE(&htim12, TIM_CHANNEL_2, 0); // PB15 Feeder 2 pwm
  __HAL_TIM_SET_COMPARE(&htim4, TIM_CHANNEL_4, 0); // PB9 Feeder 1 pwm
  __HAL_TIM_SET_COMPARE(&htim2, TIM_CHANNEL_1, 0); // PA0 L3 pwm
  __HAL_TIM_SET_COMPARE(&htim3, TIM_CHANNEL_3, 0); // PB0 L4 pwm
  __HAL_TIM_SET_COMPARE(&htim2, TIM_CHANNEL_3, 0); // PB10 L1 pwm
  __HAL_TIM_SET_COMPARE(&htim2, TIM_CHANNEL_4, 0); // PB11 L2 pwm

  // Ensure enable pins remain low to keep motors disabled
  HAL_GPIO_WritePin(GPIOB, GPIO_PIN_5, GPIO_PIN_RESET); // EXTRUDER_1_EN_PIN
  HAL_GPIO_WritePin(GPIOD, GPIO_PIN_14, GPIO_PIN_RESET); // EXTRUDER_2_EN_PIN
}

void HAL_UART_RxCpltCallback(UART_HandleTypeDef *huart)
{
  if (huart->Instance == USART3)
  {
    if (rxBuffer[0] == '\n' || rxBuffer[0] == '\r')
    {
      rxBuffer[0] = '\0'; // Null-terminate the string
      dataReceived = 1;   // Signal that a command is ready to process
    }
    // Restart UART reception
    HAL_UART_Receive_IT(&huart3, (uint8_t *)rxBuffer, RX_BUFFER_SIZE);
  }
}

void HAL_GPIO_EXTI_Callback(uint16_t GPIO_Pin)
{
  if (GPIO_Pin == LB1_OUT_Pin || GPIO_Pin == LB2_OUT_Pin || GPIO_Pin == LB3_OUT_Pin || GPIO_Pin == LB4_OUT_Pin)
  {
    lightBarrierTriggered = true;
  }
}
/* USER CODE END 4 */

void Error_Handler(void)
{
  __disable_irq();
  while (1)
  {
  }
}
